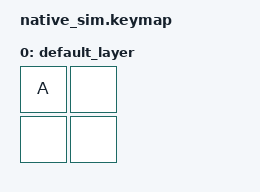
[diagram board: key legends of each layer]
#include <behaviors.dtsi>
#include <dt-bindings/zmk/keys.h>
#include <dt-bindings/zmk/kscan_mock.h>

/ {
    keymap {
        compatible = "zmk,keymap";

        default_layer {
            bindings = <
                &kp A &none
                &none &none
            >;
        };
    };
};

&kscan {
    /delete-property/ exit-after;
    events = <
        ZMK_MOCK_PRESS(0,0,150)
    >;
};
